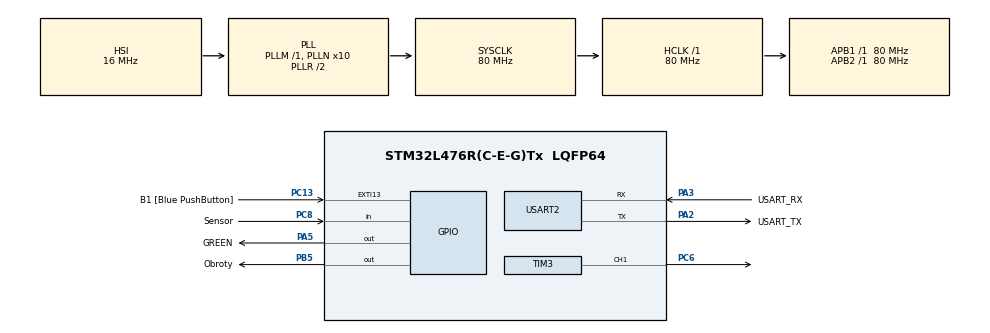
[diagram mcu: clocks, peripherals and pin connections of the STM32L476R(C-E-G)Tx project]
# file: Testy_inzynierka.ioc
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Mcu.Family=STM32L4
Mcu.Name=STM32L476R(C-E-G)Tx
Mcu.Package=LQFP64
NVIC.PriorityGroup=NVIC_PRIORITYGROUP_4
PA13\ (JTMS-SWDIO).GPIO_Label=TMS
PA13\ (JTMS-SWDIO).Mode=Serial_Wire
PA13\ (JTMS-SWDIO).Signal=SYS_JTMS-SWDIO
PA14\ (JTCK-SWCLK).GPIO_Label=TCK
PA14\ (JTCK-SWCLK).Mode=Serial_Wire
PA14\ (JTCK-SWCLK).Signal=SYS_JTCK-SWCLK
PA2.GPIO_Label=USART_TX
PA2.GPIO_Mode=GPIO_MODE_AF_PP
PA2.GPIO_PuPd=GPIO_NOPULL
PA2.GPIO_Speed=GPIO_SPEED_FREQ_VERY_HIGH
PA2.Mode=Asynchronous
PA2.Signal=USART2_TX
PA3.GPIO_Label=USART_RX
PA3.GPIO_Mode=GPIO_MODE_AF_PP
PA3.GPIO_PuPd=GPIO_NOPULL
PA3.GPIO_Speed=GPIO_SPEED_FREQ_VERY_HIGH
PA3.Mode=Asynchronous
PA3.Signal=USART2_RX
PA5.GPIO_Label=GREEN
PA5.GPIO_ModeDefaultOutputPP=GPIO_MODE_OUTPUT_PP
PA5.GPIO_PuPd=GPIO_NOPULL
PA5.GPIO_Speed=GPIO_SPEED_FREQ_LOW
PA5.Signal=GPIO_Output
PB3\ (JTDO-TRACESWO).GPIO_Label=SWO
PB3\ (JTDO-TRACESWO).Signal=SYS_JTDO-SWO
PB5.GPIO_Label=Obroty
PB5.Signal=GPIO_Output
PC13.GPIO_Label=B1 [Blue PushButton]
PC13.GPIO_ModeDefaultEXTI=GPIO_MODE_IT_FALLING
PC13.GPIO_PuPd=GPIO_NOPULL
PC13.Signal=GPXTI13
PC14-OSC32_IN\ (PC14).Mode=LSE-External-Oscillator
PC14-OSC32_IN\ (PC14).Signal=RCC_OSC32_IN
PC15-OSC32_OUT\ (PC15).Mode=LSE-External-Oscillator
PC15-OSC32_OUT\ (PC15).Signal=RCC_OSC32_OUT
PC6.Signal=S_TIM3_CH1
PC8.GPIO_Label=Sensor
PC8.Signal=GPIO_Input
PH0-OSC_IN\ (PH0).Signal=RCC_OSC_IN
PH1-OSC_OUT\ (PH1).Signal=RCC_OSC_OUT
ProjectManager.HeapSize=0x200
ProjectManager.StackSize=0x400
ProjectManager.TargetToolchain=STM32CubeIDE
RCC.ADCFreq_Value=64000000
RCC.AHBFreq_Value=80000000
RCC.APB1Freq_Value=80000000
RCC.APB1TimFreq_Value=80000000
RCC.APB2Freq_Value=80000000
RCC.APB2TimFreq_Value=80000000
RCC.CortexFreq_Value=80000000
RCC.HCLKFreq_Value=80000000
RCC.HSE_VALUE=8000000
RCC.HSI_VALUE=16000000
RCC.MSI_VALUE=4000000
RCC.PLLN=10
RCC.PLLSourceVirtual=RCC_PLLSOURCE_HSI
RCC.PREFETCH_ENABLE=1
RCC.SYSCLKFreq_VALUE=80000000
RCC.SYSCLKSource=RCC_SYSCLKSOURCE_PLLCLK
RCC.USBFreq_Value=64000000
RCC.VCOOutputFreq_Value=160000000
SH.S_TIM3_CH1.0=TIM3_CH1,PWM Generation1 CH1
TIM3.Channel-PWM\ Generation1\ CH1=TIM_CHANNEL_1
TIM3.Period=1000
TIM3.Prescaler=7
TIM3.Pulse-PWM\ Generation1\ CH1=7500
USART2.VirtualMode-Asynchronous=VM_ASYNC
VP_TIM3_VS_ClockSourceINT.Mode=Internal
board=NUCLEO-L476RG

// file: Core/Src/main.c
/* USER CODE BEGIN Header */
/**
  ******************************************************************************
  * @file           : main.c
  * @brief          : Main program body
  ******************************************************************************
  * @attention
  *
  * Copyright (c) 2023 STMicroelectronics.
  * All rights reserved.
  *
  * This software is licensed under terms that can be found in the LICENSE file
  * in the root directory of this software component.
  * If no LICENSE file comes with this software, it is provided AS-IS.
  *
  ******************************************************************************
  */
/* USER CODE END Header */
#include "main.h"

/* USER CODE BEGIN Includes */
#include "stdio.h"
#include "stdbool.h"
/* USER CODE END Includes */

TIM_HandleTypeDef htim3;

UART_HandleTypeDef huart2;

void SystemClock_Config(void);
static void MX_GPIO_Init(void);
static void MX_USART2_UART_Init(void);
static void MX_TIM3_Init(void);

/* USER CODE BEGIN 0 */
uint32_t NewPulse=9500;
bool block = false;
void HAL_TIM_PeriodElapsedCallback(TIM_HandleTypeDef *htim)
{
  if (htim == &htim3) {
    HAL_GPIO_TogglePin(GREEN_GPIO_Port, GREEN_Pin);
    //HAL_GPIO_WritePin(PWM_GPIO_Port, PWM_Pin, GPIO_PIN_SET);
}
void HAL_TIM_OC_DelayElapsedCallback(TIM_HandleTypeDef *htim)
{
  if (htim == &htim3) {
    switch (HAL_TIM_GetActiveChannel(&htim3)) {
    case HAL_TIM_ACTIVE_CHANNEL_1:
      //HAL_GPIO_WritePin(PWM_GPIO_Port, PWM_Pin, GPIO_PIN_RESET);
      break;
    default:
      break;
    }
    }
  }
}

/* USER CODE END 0 */

int main(void)
{

  /* MCU Configuration--------------------------------------------------------*/

  /* Reset of all peripherals, Initializes the Flash interface and the Systick. */
  HAL_Init();

  /* Configure the system clock */
  SystemClock_Config();

  /* Initialize all configured peripherals */
  MX_GPIO_Init();
  MX_USART2_UART_Init();
  MX_TIM3_Init();
  /* USER CODE BEGIN 2 */
	HAL_TIM_Base_Start_IT(&htim3);
	HAL_TIM_PWM_Start(&htim3, TIM_CHANNEL_1);
  /* USER CODE END 2 */

  /* Infinite loop */
  /* USER CODE BEGIN WHILE */
  while (1)
  {
//		if (HAL_GPIO_ReadPin(Sensor_GPIO_Port, Sensor_Pin) == GPIO_PIN_RESET) {
//			HAL_GPIO_WritePin(GREEN_GPIO_Port, GREEN_Pin, GPIO_PIN_SET);
//		} else {
//			HAL_GPIO_WritePin(GREEN_GPIO_Port, GREEN_Pin, GPIO_PIN_RESET);
//		}
		__HAL_TIM_SET_COMPARE(&htim3,TIM_CHANNEL_1,NewPulse);
		if (HAL_GPIO_ReadPin(B1_GPIO_Port, B1_Pin) == GPIO_PIN_RESET) {
			//HAL_GPIO_WritePin(Obroty_GPIO_Port, Obroty_Pin, GPIO_PIN_RESET);

		    if (block==false){
		    	NewPulse=NewPulse+500;
		    	block=true;
		  }

		} else {
			HAL_GPIO_WritePin(Obroty_GPIO_Port, Obroty_Pin, GPIO_PIN_SET);
			block = false;
			if((NewPulse)>9400) {
				NewPulse=500;
			}
		}
    /* USER CODE END WHILE */

  }
}

void SystemClock_Config(void)
{
  RCC_OscInitTypeDef RCC_OscInitStruct = {0};
  RCC_ClkInitTypeDef RCC_ClkInitStruct = {0};

  /** Configure the main internal regulator output voltage
  */
  if (HAL_PWREx_ControlVoltageScaling(PWR_REGULATOR_VOLTAGE_SCALE1) != HAL_OK)
  {
    Error_Handler();
  }

  /** Initializes the RCC Oscillators according to the specified parameters
  * in the RCC_OscInitTypeDef structure.
  */
  RCC_OscInitStruct.OscillatorType = RCC_OSCILLATORTYPE_HSI;
  RCC_OscInitStruct.HSIState = RCC_HSI_ON;
  RCC_OscInitStruct.HSICalibrationValue = RCC_HSICALIBRATION_DEFAULT;
  RCC_OscInitStruct.PLL.PLLState = RCC_PLL_ON;
  RCC_OscInitStruct.PLL.PLLSource = RCC_PLLSOURCE_HSI;
  RCC_OscInitStruct.PLL.PLLM = 1;
  RCC_OscInitStruct.PLL.PLLN = 10;
  RCC_OscInitStruct.PLL.PLLP = RCC_PLLP_DIV7;
  RCC_OscInitStruct.PLL.PLLQ = RCC_PLLQ_DIV2;
  RCC_OscInitStruct.PLL.PLLR = RCC_PLLR_DIV2;
  if (HAL_RCC_OscConfig(&RCC_OscInitStruct) != HAL_OK)
  {
    Error_Handler();
  }

  /** Initializes the CPU, AHB and APB buses clocks
  */
  RCC_ClkInitStruct.ClockType = RCC_CLOCKTYPE_HCLK|RCC_CLOCKTYPE_SYSCLK
                              |RCC_CLOCKTYPE_PCLK1|RCC_CLOCKTYPE_PCLK2;
  RCC_ClkInitStruct.SYSCLKSource = RCC_SYSCLKSOURCE_PLLCLK;
  RCC_ClkInitStruct.AHBCLKDivider = RCC_SYSCLK_DIV1;
  RCC_ClkInitStruct.APB1CLKDivider = RCC_HCLK_DIV1;
  RCC_ClkInitStruct.APB2CLKDivider = RCC_HCLK_DIV1;

  if (HAL_RCC_ClockConfig(&RCC_ClkInitStruct, FLASH_LATENCY_4) != HAL_OK)
  {
    Error_Handler();
  }
}

static void MX_TIM3_Init(void)
{

  TIM_ClockConfigTypeDef sClockSourceConfig = {0};
  TIM_MasterConfigTypeDef sMasterConfig = {0};
  TIM_OC_InitTypeDef sConfigOC = {0};

  htim3.Instance = TIM3;
  htim3.Init.Prescaler = 7;
  htim3.Init.CounterMode = TIM_COUNTERMODE_UP;
  htim3.Init.Period = 1000;
  htim3.Init.ClockDivision = TIM_CLOCKDIVISION_DIV1;
  htim3.Init.AutoReloadPreload = TIM_AUTORELOAD_PRELOAD_DISABLE;
  if (HAL_TIM_Base_Init(&htim3) != HAL_OK)
  {
    Error_Handler();
  }
  sClockSourceConfig.ClockSource = TIM_CLOCKSOURCE_INTERNAL;
  if (HAL_TIM_ConfigClockSource(&htim3, &sClockSourceConfig) != HAL_OK)
  {
    Error_Handler();
  }
  if (HAL_TIM_PWM_Init(&htim3) != HAL_OK)
  {
    Error_Handler();
  }
  sMasterConfig.MasterOutputTrigger = TIM_TRGO_RESET;
  sMasterConfig.MasterSlaveMode = TIM_MASTERSLAVEMODE_DISABLE;
  if (HAL_TIMEx_MasterConfigSynchronization(&htim3, &sMasterConfig) != HAL_OK)
  {
    Error_Handler();
  }
  sConfigOC.OCMode = TIM_OCMODE_PWM1;
  sConfigOC.Pulse = 7500;
  sConfigOC.OCPolarity = TIM_OCPOLARITY_HIGH;
  sConfigOC.OCFastMode = TIM_OCFAST_DISABLE;
  if (HAL_TIM_PWM_ConfigChannel(&htim3, &sConfigOC, TIM_CHANNEL_1) != HAL_OK)
  {
    Error_Handler();
  }
  HAL_TIM_MspPostInit(&htim3);

}

static void MX_USART2_UART_Init(void)
{

  huart2.Instance = USART2;
  huart2.Init.BaudRate = 115200;
  huart2.Init.WordLength = UART_WORDLENGTH_8B;
  huart2.Init.StopBits = UART_STOPBITS_1;
  huart2.Init.Parity = UART_PARITY_NONE;
  huart2.Init.Mode = UART_MODE_TX_RX;
  huart2.Init.HwFlowCtl = UART_HWCONTROL_NONE;
  huart2.Init.OverSampling = UART_OVERSAMPLING_16;
  huart2.Init.OneBitSampling = UART_ONE_BIT_SAMPLE_DISABLE;
  huart2.AdvancedInit.AdvFeatureInit = UART_ADVFEATURE_NO_INIT;
  if (HAL_UART_Init(&huart2) != HAL_OK)
  {
    Error_Handler();
  }

}

static void MX_GPIO_Init(void)
{
  GPIO_InitTypeDef GPIO_InitStruct = {0};

  /* GPIO Ports Clock Enable */
  __HAL_RCC_GPIOC_CLK_ENABLE();
  __HAL_RCC_GPIOH_CLK_ENABLE();
  __HAL_RCC_GPIOA_CLK_ENABLE();
  __HAL_RCC_GPIOB_CLK_ENABLE();

  /*Configure GPIO pin Output Level */
  HAL_GPIO_WritePin(GREEN_GPIO_Port, GREEN_Pin, GPIO_PIN_RESET);

  /*Configure GPIO pin Output Level */
  HAL_GPIO_WritePin(Obroty_GPIO_Port, Obroty_Pin, GPIO_PIN_RESET);

  /*Configure GPIO pin : B1_Pin */
  GPIO_InitStruct.Pin = B1_Pin;
  GPIO_InitStruct.Mode = GPIO_MODE_IT_FALLING;
  GPIO_InitStruct.Pull = GPIO_NOPULL;
  HAL_GPIO_Init(B1_GPIO_Port, &GPIO_InitStruct);

  /*Configure GPIO pin : GREEN_Pin */
  GPIO_InitStruct.Pin = GREEN_Pin;
  GPIO_InitStruct.Mode = GPIO_MODE_OUTPUT_PP;
  GPIO_InitStruct.Pull = GPIO_NOPULL;
  GPIO_InitStruct.Speed = GPIO_SPEED_FREQ_LOW;
  HAL_GPIO_Init(GREEN_GPIO_Port, &GPIO_InitStruct);

  /*Configure GPIO pin : Sensor_Pin */
  GPIO_InitStruct.Pin = Sensor_Pin;
  GPIO_InitStruct.Mode = GPIO_MODE_INPUT;
  GPIO_InitStruct.Pull = GPIO_NOPULL;
  HAL_GPIO_Init(Sensor_GPIO_Port, &GPIO_InitStruct);

  /*Configure GPIO pin : Obroty_Pin */
  GPIO_InitStruct.Pin = Obroty_Pin;
  GPIO_InitStruct.Mode = GPIO_MODE_OUTPUT_PP;
  GPIO_InitStruct.Pull = GPIO_NOPULL;
  GPIO_InitStruct.Speed = GPIO_SPEED_FREQ_LOW;
  HAL_GPIO_Init(Obroty_GPIO_Port, &GPIO_InitStruct);

}

void Error_Handler(void)
{
  __disable_irq();
  while (1)
  {
  }
}
